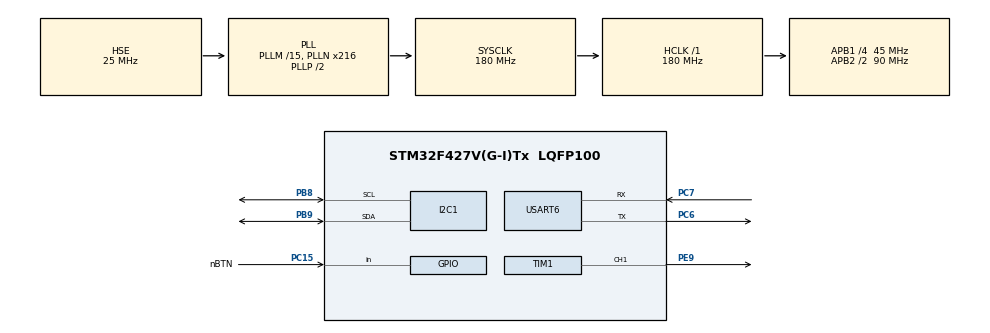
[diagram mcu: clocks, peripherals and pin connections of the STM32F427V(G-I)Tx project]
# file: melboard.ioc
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I2C1.I2C_Mode=I2C_Standard
Mcu.Family=STM32F4
Mcu.Name=STM32F427V(G-I)Tx
Mcu.Package=LQFP100
NVIC.I2C1_ER_IRQn=true\:0\:0\:false\:false\:true\:true\:true\:true
NVIC.I2C1_EV_IRQn=true\:0\:0\:false\:false\:true\:true\:true\:true
NVIC.PriorityGroup=NVIC_PRIORITYGROUP_4
NVIC.TIM6_DAC_IRQn=true\:0\:0\:false\:false\:true\:true\:true\:true
PA13.Mode=JTAG_5_pins
PA13.Signal=SYS_JTMS-SWDIO
PA14.Mode=JTAG_5_pins
PA14.Signal=SYS_JTCK-SWCLK
PA15.Mode=JTAG_5_pins
PA15.Signal=SYS_JTDI
PB3.Mode=JTAG_5_pins
PB3.Signal=SYS_JTDO-SWO
PB4.Mode=JTAG_5_pins
PB4.Signal=SYS_JTRST
PB8.Mode=I2C
PB8.Signal=I2C1_SCL
PB9.Mode=I2C
PB9.Signal=I2C1_SDA
PC15/OSC32_OUT.GPIO_Label=nBTN
PC15/OSC32_OUT.Signal=GPIO_Input
PC6.Mode=Asynchronous
PC6.Signal=USART6_TX
PC7.Mode=Asynchronous
PC7.Signal=USART6_RX
PE9.Signal=S_TIM1_CH1
PH0/OSC_IN.Mode=HSE-External-Oscillator
PH0/OSC_IN.Signal=RCC_OSC_IN
PH1/OSC_OUT.Mode=HSE-External-Oscillator
PH1/OSC_OUT.Signal=RCC_OSC_OUT
ProjectManager.HeapSize=0x200
ProjectManager.StackSize=0x400
ProjectManager.TargetToolchain=STM32CubeIDE
RCC.48MHZClocksFreq_Value=90000000
RCC.AHBFreq_Value=180000000
RCC.APB1CLKDivider=RCC_HCLK_DIV4
RCC.APB1Freq_Value=45000000
RCC.APB1TimFreq_Value=90000000
RCC.APB2CLKDivider=RCC_HCLK_DIV2
RCC.APB2Freq_Value=90000000
RCC.APB2TimFreq_Value=180000000
RCC.CortexFreq_Value=180000000
RCC.HCLKFreq_Value=180000000
RCC.HSE_VALUE=25000000
RCC.HSI_VALUE=16000000
RCC.LSE_VALUE=32768
RCC.PLLM=15
RCC.PLLN=216
RCC.PLLSourceVirtual=RCC_PLLSOURCE_HSE
RCC.SYSCLKFreq_VALUE=180000000
RCC.SYSCLKSource=RCC_SYSCLKSOURCE_PLLCLK
RCC.VCOOutputFreq_Value=360000000
SH.S_TIM1_CH1.0=TIM1_CH1,PWM Generation1 CH1
TIM1.Channel-PWM\ Generation1\ CH1=TIM_CHANNEL_1
TIM1.Period=100
TIM6.Period=1000
TIM6.Prescaler=89
USART6.VirtualMode=VM_ASYNC
VP_TIM6_VS_ClockSourceINT.Mode=Enable_Timer
board=custom

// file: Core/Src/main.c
/* USER CODE BEGIN Header */
/**
  ******************************************************************************
  * @file           : main.c
  * @brief          : Main program body
  ******************************************************************************
  * @attention
  *
  * Copyright (c) 2022 STMicroelectronics.
  * All rights reserved.
  *
  * This software is licensed under terms that can be found in the LICENSE file
  * in the root directory of this software component.
  * If no LICENSE file comes with this software, it is provided AS-IS.
  *
  ******************************************************************************
  */
/* USER CODE END Header */
#include "main.h"
#include "i2c.h"
#include "tim.h"
#include "usart.h"
#include "gpio.h"

/* USER CODE BEGIN Includes */
#include "queue.h"
#include "buzzer.h"
#include "kb.h"
#include <stdio.h>
#include <string.h>
#include <stdbool.h>
/* USER CODE END Includes */

/* USER CODE BEGIN PTD */
typedef void (buzzer_cb)(struct fifo_queue*, enum request_type);
/* USER CODE END PTD */

/* USER CODE BEGIN PD */
#define POLLING_RECEIVE_TIMEOUT_PER_CHAR (10)

#define RQT_THRESHOLD (11)
/* USER CODE END PD */

/* USER CODE BEGIN PV */
extern enum kb_fms kb_state;
extern uint8_t row;
extern uint8_t kb_buffer;
extern int32_t cur_buttons_st[4][3];

static buzzer_cb* buzzer_callbacks[] = {
		[RQT_DO]             = play_note,
		[RQT_RE]             = play_note,
		[RQT_MI]             = play_note,
		[RQT_FA]             = play_note,
		[RQT_SOL]            = play_note,
		[RQT_LA]             = play_note,
		[RQT_TI]             = play_note,
		[RQT_RAISE_OCTAVE]   = raise_octave,
		[RQT_LOWER_OCTAVE]   = lower_octave,
		[RQT_RAISE_DURATION] = raise_duration,
		[RQT_LOWER_DURATION] = lower_duration
};

static enum request_type rqt_map[] = {
		[KBE_PRESSED_1] = RQT_DO,
		[KBE_PRESSED_2] = RQT_RE,
		[KBE_PRESSED_3] = RQT_MI,
		[KBE_PRESSED_4] = RQT_FA,
		[KBE_PRESSED_5] = RQT_SOL,
		[KBE_PRESSED_6] = RQT_LA,
		[KBE_PRESSED_8] = RQT_TI,
		[KBE_PRESSED_9] = RQT_RAISE_OCTAVE,
		[KBE_PRESSED_7] = RQT_LOWER_OCTAVE,
		[KBE_PRESSED_12] = RQT_RAISE_DURATION,
		[KBE_PRESSED_10] = RQT_LOWER_DURATION
};

static struct fifo_queue requests_queue;

static struct fifo_queue to_user_queue;
/* USER CODE END PV */

void SystemClock_Config(void);

int main(void)
{

  /* MCU Configuration--------------------------------------------------------*/

  /* Reset of all peripherals, Initializes the Flash interface and the Systick. */
  HAL_Init();

  /* Configure the system clock */
  SystemClock_Config();

  /* Initialize all configured peripherals */
  MX_GPIO_Init();
  MX_USART6_UART_Init();
  MX_I2C1_Init();
  MX_TIM6_Init();
  MX_TIM1_Init();
  /* USER CODE BEGIN 2 */
  KB_Init();
  enum kb_event old_event = KBE_NONE, cur_event = KBE_NONE;
  uint32_t old_tm = 0;

  HAL_TIM_PWM_Start(&htim1, TIM_CHANNEL_1);
  HAL_TIM_Base_Start_IT(&htim6);

  bool is_test = true;
  GPIO_PinState old_btn = GPIO_PIN_SET, cur_btn = GPIO_PIN_SET;
  uint32_t old_btn_tm = 0;
  /* USER CODE END 2 */

  /* Infinite loop */
  while (1)
  {

    /* USER CODE BEGIN 3 */
	const uint32_t now_btn_tm = HAL_GetTick();
	old_btn = cur_btn;
	if (now_btn_tm - old_btn_tm > 300) {
		cur_btn = HAL_GPIO_ReadPin(GPIOC, nBTN_Pin);
		old_btn_tm = now_btn_tm;
	}

	if ((cur_btn == GPIO_PIN_RESET) && (old_btn == GPIO_PIN_SET)) {
		is_test = !is_test;
		char response[256];
		snprintf(response, 256, is_test ? "test mode enabled\r\n" : "application mode enabled\r\n");
		const size_t length = strlen(response);
		HAL_UART_Transmit(&huart6, (uint8_t*) response, length, length * POLLING_RECEIVE_TIMEOUT_PER_CHAR);
	}

	KB_Poll_Start();
	const uint32_t now_tm = HAL_GetTick();
	old_event = cur_event;
	if (now_tm - old_tm > 300) {
		cur_event = KB_Poll_Finish();
		old_tm = now_tm;
	}

	// detect press
	if ((cur_event != KBE_NONE) && (cur_event != old_event)) {
		if (is_test) {
			char response[256];
			snprintf(response, 256, "%d\r\n", cur_event);
			const size_t length = strlen(response);
			HAL_UART_Transmit(&huart6, (uint8_t*) response, length, length * POLLING_RECEIVE_TIMEOUT_PER_CHAR);
		} else {
			// TODO: add request to queue
			if (cur_event == KBE_PRESSED_11) {
				  for (uint8_t t_n = RQT_DO; t_n <= RQT_TI; ++t_n)
					  queue_write(&requests_queue, &t_n, 1);
			} else queue_write(&requests_queue, &rqt_map[cur_event], 1);
		}
	}

	if (!is_test) {
		// transmit result
		if (!queue_is_empty(&to_user_queue)) {
			char response[256];
			const size_t length = queue_read(&to_user_queue, (uint8_t*) response, sizeof(response));
			HAL_UART_Transmit(&huart6, (uint8_t*) response, length, length * POLLING_RECEIVE_TIMEOUT_PER_CHAR);
		}
	} else queue_clear(&to_user_queue);
  }
  /* USER CODE END 3 */
}

void SystemClock_Config(void)
{
  RCC_OscInitTypeDef RCC_OscInitStruct = {0};
  RCC_ClkInitTypeDef RCC_ClkInitStruct = {0};

  /** Configure the main internal regulator output voltage
  */
  __HAL_RCC_PWR_CLK_ENABLE();
  __HAL_PWR_VOLTAGESCALING_CONFIG(PWR_REGULATOR_VOLTAGE_SCALE1);

  /** Initializes the RCC Oscillators according to the specified parameters
  * in the RCC_OscInitTypeDef structure.
  */
  RCC_OscInitStruct.OscillatorType = RCC_OSCILLATORTYPE_HSE;
  RCC_OscInitStruct.HSEState = RCC_HSE_ON;
  RCC_OscInitStruct.PLL.PLLState = RCC_PLL_ON;
  RCC_OscInitStruct.PLL.PLLSource = RCC_PLLSOURCE_HSE;
  RCC_OscInitStruct.PLL.PLLM = 15;
  RCC_OscInitStruct.PLL.PLLN = 216;
  RCC_OscInitStruct.PLL.PLLP = RCC_PLLP_DIV2;
  RCC_OscInitStruct.PLL.PLLQ = 4;
  if (HAL_RCC_OscConfig(&RCC_OscInitStruct) != HAL_OK)
  {
    Error_Handler();
  }

  /** Activate the Over-Drive mode
  */
  if (HAL_PWREx_EnableOverDrive() != HAL_OK)
  {
    Error_Handler();
  }

  /** Initializes the CPU, AHB and APB buses clocks
  */
  RCC_ClkInitStruct.ClockType = RCC_CLOCKTYPE_HCLK|RCC_CLOCKTYPE_SYSCLK
                              |RCC_CLOCKTYPE_PCLK1|RCC_CLOCKTYPE_PCLK2;
  RCC_ClkInitStruct.SYSCLKSource = RCC_SYSCLKSOURCE_PLLCLK;
  RCC_ClkInitStruct.AHBCLKDivider = RCC_SYSCLK_DIV1;
  RCC_ClkInitStruct.APB1CLKDivider = RCC_HCLK_DIV4;
  RCC_ClkInitStruct.APB2CLKDivider = RCC_HCLK_DIV2;

  if (HAL_RCC_ClockConfig(&RCC_ClkInitStruct, FLASH_LATENCY_5) != HAL_OK)
  {
    Error_Handler();
  }
}

/* USER CODE BEGIN 4 */
void HAL_TIM_PeriodElapsedCallback(TIM_HandleTypeDef *htim) {

	if(htim->Instance == TIM6) {

		// pass time to buzzer until its done
		if (!is_buzzer_done())
			pass_time(1);
		else mute_buzzer();

		if (queue_is_empty(&requests_queue)) return;

		if (!is_buzzer_done()) {
			const uint8_t top = queue_top(&requests_queue);
			if (top >= RQT_DO && top <= RQT_TI) return;
		}

		// handle request
		uint8_t request = 0;
		queue_read(&requests_queue, &request, 1);
		if (request >= RQT_THRESHOLD) {
			char response[1024];
			snprintf(response, sizeof(response), "неверный символ %u\r\n", request - RQT_THRESHOLD);
			const size_t length = strlen(response);
			queue_write(&to_user_queue, (uint8_t*) response, length);
		} else buzzer_callbacks[request](&to_user_queue, request);
	}

}
/* USER CODE END 4 */

void Error_Handler(void)
{
  __disable_irq();
  while (1)
  {
  }
}
